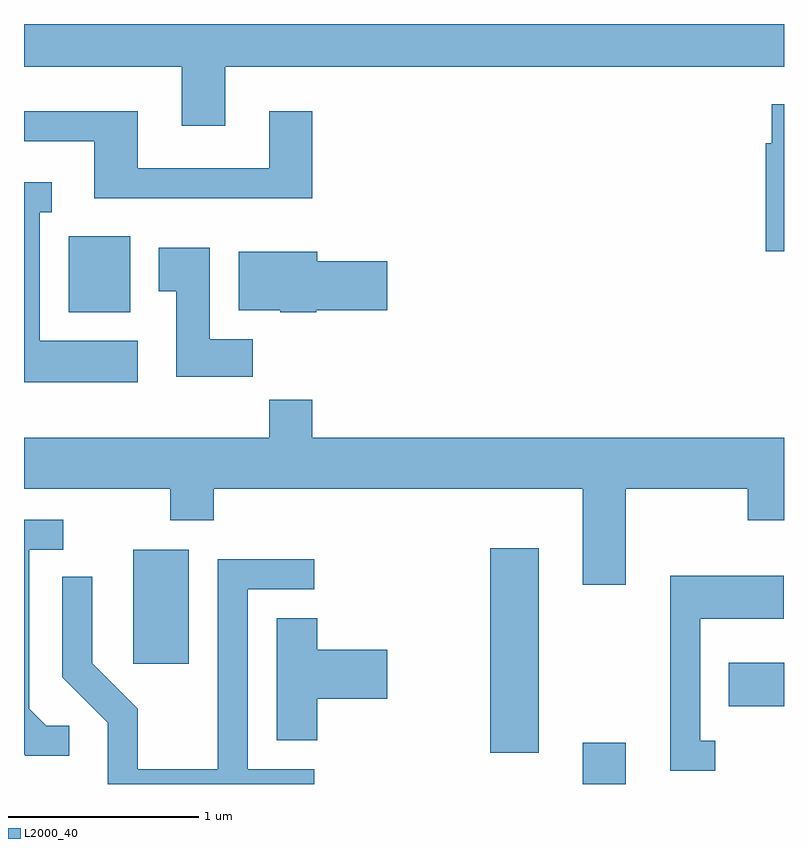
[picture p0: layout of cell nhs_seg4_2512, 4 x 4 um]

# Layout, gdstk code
import gdstk
lib = gdstk.Library(unit=1e-6, precision=1e-09)
def R(c, l, rs):  # rectangles x0, y0, x1, y1
    for r in rs: c.add(gdstk.rectangle(r[:2], r[2:], *l))
def P(c, l, *ps):  # polygons
    for p in ps: c.add(gdstk.Polygon(p, *l))
L2000_40 = (2000, 40)

nhs_seg4_2512 = lib.new_cell('nhs_seg4_2512')
R(nhs_seg4_2512, L2000_40, [(260.551,1381.982,260.779,1382.199), (260.066,1382.146,260.319,1383.224), (261.321,1382.391,261.611,1382.619), (258.186,1382.616,258.479,1383.214), (257.846,1384.466,258.169,1384.864)])
P(nhs_seg4_2512, L2000_40, [(258.669,1385.756),(261.611,1385.756),(261.611,1385.982),(257.611,1385.982),(257.611,1385.756),(258.441,1385.756),(258.441,1385.446),(258.669,1385.446)],
  [(261.611,1385.559),(261.546,1385.559),(261.546,1385.354),(261.516,1385.354),(261.516,1384.786),(261.611,1384.786)],
  [(259.129,1385.524),(258.901,1385.524),(258.901,1385.224),(258.209,1385.224),(258.209,1385.524),(257.611,1385.524),(257.611,1385.366),(257.981,1385.366),(257.981,1385.066),(259.129,1385.066)],
  [(258.209,1384.314),(257.694,1384.314),(257.694,1384.991),(257.758,1384.991),(257.758,1385.149),(257.611,1385.149),(257.611,1384.096),(258.209,1384.096)],
  [(258.814,1384.324),(258.589,1384.324),(258.589,1384.804),(258.321,1384.804),(258.321,1384.576),(258.411,1384.576),(258.411,1384.126),(258.814,1384.126)],
  [(259.15,1384.476),(259.524,1384.476),(259.524,1384.734),(259.154,1384.734),(259.154,1384.784),(258.741,1384.784),(258.741,1384.476),(258.96,1384.476),(258.96,1384.466),(259.15,1384.466)],
  [(260.779,1383.536),(261.421,1383.536),(261.421,1383.371),(261.611,1383.371),(261.611,1383.804),(259.129,1383.804),(259.129,1384.004),(258.901,1384.004),(258.901,1383.804),(257.611,1383.804),(257.611,1383.536),(258.381,1383.536),(258.381,1383.371),(258.609,1383.371),(258.609,1383.536),(260.551,1383.536),(260.551,1383.031),(260.779,1383.031)],
  [(257.848,1382.289),(257.727,1382.289),(257.639,1382.377),(257.639,1383.216),(257.818,1383.216),(257.818,1383.374),(257.611,1383.374),(257.611,1382.138),(257.618,1382.131),(257.848,1382.131)],
  [(259.138,1382.059),(258.789,1382.059),(258.789,1383.006),(259.138,1383.006),(259.138,1383.164),(258.631,1383.164),(258.631,1382.059),(258.209,1382.059),(258.209,1382.377),(257.969,1382.617),(257.969,1383.073),(257.811,1383.073),(257.811,1382.544),(258.051,1382.304),(258.051,1381.982),(259.138,1381.982)],
  [(261.248,1382.209),(261.169,1382.209),(261.169,1382.851),(261.609,1382.851),(261.609,1383.079),(261.011,1383.079),(261.011,1382.051),(261.248,1382.051)],
  [(259.154,1382.431),(259.524,1382.431),(259.524,1382.689),(259.154,1382.689),(259.154,1382.854),(258.941,1382.854),(258.941,1382.211),(259.154,1382.211)])

lib.write_gds('nhs_seg4_2512.gds')
